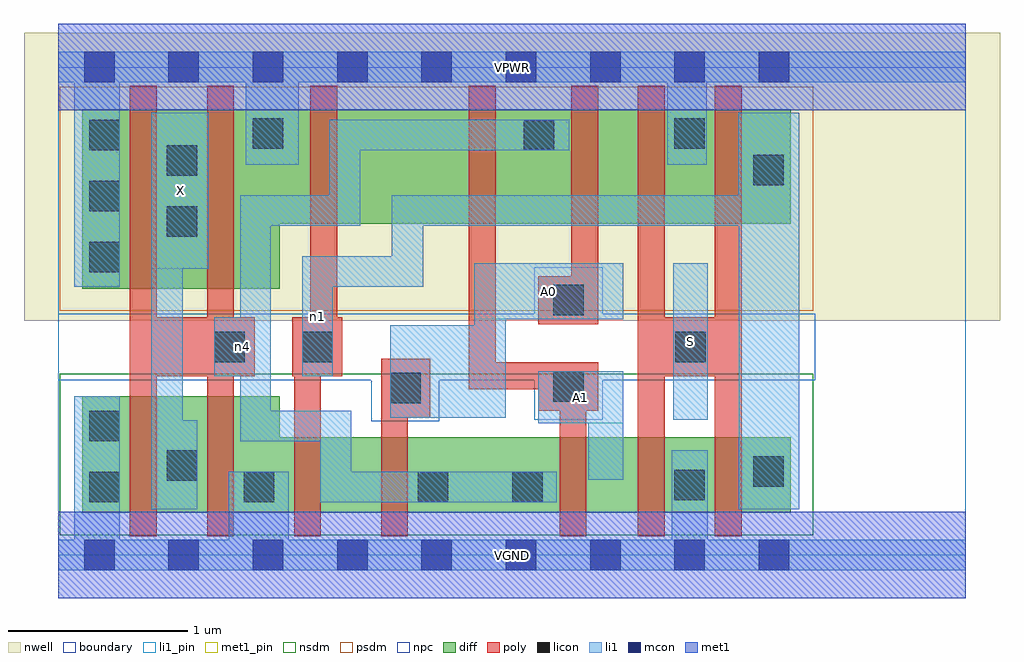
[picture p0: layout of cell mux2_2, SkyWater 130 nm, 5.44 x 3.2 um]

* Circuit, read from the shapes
.subckt mux2_2 A0 A1 S VGND VPWR X n1 n4
XM1 X n4 VGND VSUBS sky130_fd_pr__nfet_01v8 w=0.65 l=0.15 m=2
XM2 n2 n1 VGND VSUBS sky130_fd_pr__nfet_01v8 w=0.42 l=0.15
XM3 n4 A0 n2 VSUBS sky130_fd_pr__nfet_01v8 w=0.42 l=0.15
XM4 n3 A1 n4 VSUBS sky130_fd_pr__nfet_01v8 w=0.42 l=0.15
XM5 VGND S n3 VSUBS sky130_fd_pr__nfet_01v8 w=0.42 l=0.15
XM6 n1 S VGND VSUBS sky130_fd_pr__nfet_01v8 w=0.42 l=0.15
XM7 X n4 VPWR n5 sky130_fd_pr__pfet_01v8 w=1 l=0.15 m=2
XM8 n6 n1 VPWR n5 sky130_fd_pr__pfet_01v8 w=0.64 l=0.15
XM9 n4 A1 n6 n5 sky130_fd_pr__pfet_01v8 w=0.64 l=0.15
XM10 n7 A0 n4 n5 sky130_fd_pr__pfet_01v8 w=0.64 l=0.15
XM11 VPWR S n7 n5 sky130_fd_pr__pfet_01v8 w=0.64 l=0.15
XM12 n1 S VPWR n5 sky130_fd_pr__pfet_01v8 w=0.64 l=0.15
.ends

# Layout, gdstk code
import gdstk
lib = gdstk.Library(unit=1e-6, precision=1e-09)
def R(c, l, rs):  # rectangles x0, y0, x1, y1
    for r in rs: c.add(gdstk.rectangle(r[:2], r[2:], *l))
def A(c, l, x, y, w, h, nx, ny, dx, dy):  # array of equal rectangles
    R(c, l, [(x+i*dx, y+j*dy, x+i*dx+w, y+j*dy+h) for i in range(nx) for j in range(ny)])
nwell = (64, 20)
diff = (65, 20)
poly = (66, 20)
licon = (66, 44)
li1_pin = (67, 16)
li1 = (67, 20)
mcon = (67, 44)
met1_pin = (68, 16)
met1 = (68, 20)
nsdm = (93, 44)
psdm = (94, 20)
npc = (95, 20)
boundary = (235, 4)

mux2_2 = lib.new_cell('mux2_2')
R(mux2_2, nwell, [(-0.19,1.305,5.25,2.91), (0,1.305,5.06,2.91)])
R(mux2_2, diff, [(0.135,0.235,4.085,0.655), (0.135,0.235,1.235,0.885), (0.135,1.485,1.235,2.485), (0.135,1.845,4.085,2.485)])
R(mux2_2, poly, [(0.4,0.105,0.55,2.615), (0.83,0.105,0.98,2.615), (1.315,0.105,1.465,1.325), (1.8,0.105,1.95,1.095), (2.795,0.105,2.945,1.075), (3.23,0.105,3.38,2.615), (3.66,0.105,3.81,2.615), (1.8,0.765,2.075,1.095), (2.675,0.805,3.01,1.075), (2.29,0.925,2.44,2.615), (2.29,0.925,3.01,1.075), (0.4,0.995,1.095,1.325), (1.305,0.995,1.585,1.325), (1.405,0.995,1.555,2.615), (3.23,0.995,3.81,1.325), (2.675,1.285,3.01,1.555), (2.86,1.285,3.01,2.615)])
A(mux2_2, licon, 0.175, 1.575, 0.17, 0.17, 1, 3, 0, 0.34)
R(mux2_2, licon, [(0.175,0.295,0.345,0.465), (1.035,0.295,1.205,0.465), (2.005,0.295,2.175,0.465), (2.53,0.295,2.7,0.465), (3.435,0.305,3.605,0.475), (3.875,0.38,4.045,0.55), (0.605,0.415,0.775,0.585), (0.175,0.635,0.345,0.805), (1.85,0.845,2.02,1.015), (2.76,0.855,2.93,1.025), (0.87,1.075,1.04,1.245), (1.36,1.075,1.53,1.245), (3.44,1.075,3.61,1.245), (2.76,1.335,2.93,1.505), (0.605,1.775,0.775,1.945), (3.875,2.06,4.045,2.23), (0.605,2.115,0.775,2.285), (2.595,2.255,2.765,2.425), (1.085,2.265,1.255,2.435), (3.435,2.265,3.605,2.435)])
R(mux2_2, li1_pin, [(2.675,0.735,3.15,1.025), (3.43,0.755,3.62,1.625), (2.32,1.315,3.15,1.625), (0.52,1.595,0.84,2.465)])
R(mux2_2, li1, [(0,-0.085,5.06,0.085), (0.09,-0.085,0.345,0.885), (0.95,-0.085,1.285,0.465), (3.42,-0.085,3.62,0.585), (0.52,0.255,0.695,2.465), (0.52,0.255,0.775,0.75), (3.795,0.255,4.13,2.465), (1.46,0.295,2.78,0.465), (1.46,0.295,1.635,0.805), (2.955,0.42,3.15,1.025), (1.015,0.635,1.185,2.005), (1.015,0.635,1.635,0.805), (2.675,0.735,3.15,1.025), (3.43,0.755,3.62,1.625), (1.85,0.765,2.495,1.28), (2.32,0.765,2.495,1.625), (0.87,0.995,1.185,1.325), (1.36,0.995,1.53,1.665), (2.32,1.315,3.15,1.625), (0.09,1.495,0.345,2.805), (1.36,1.495,2.035,1.665), (1.86,1.495,2.035,2.005), (0.52,1.595,0.84,2.465), (1.015,1.835,1.685,2.005), (1.51,1.835,1.685,2.425), (1.86,1.835,4.13,2.005), (3.79,1.835,4.13,2.465), (1.045,2.175,1.34,2.805), (3.395,2.175,3.615,2.805), (1.51,2.255,2.85,2.425), (0,2.635,5.06,2.805)])
A(mux2_2, mcon, 0.145, -0.085, 0.17, 0.17, 9, 2, 0.47, 2.72)
R(mux2_2, met1_pin, [(0,-0.24,5.06,0.24), (0,2.48,5.06,2.96)])
R(mux2_2, met1, [(0,-0.24,5.06,0.24), (0,2.48,5.06,2.96)])
R(mux2_2, nsdm, [(0.01,0.11,4.21,1.01)])
R(mux2_2, psdm, [(0.01,1.36,4.21,2.61)])
R(mux2_2, npc, [(1.745,0.745,2.125,1.345), (2.655,0.755,3.035,1.605), (0,0.975,4.22,1.345)])
R(mux2_2, boundary, [(0,0,5.06,2.72)])
mux2_2.add(gdstk.Label('A0', (2.735,1.47), layer=67, texttype=5))
mux2_2.add(gdstk.Label('A1', (2.912,0.88), layer=67, texttype=5))
mux2_2.add(gdstk.Label('S', (3.525,1.19), layer=67, texttype=5))
mux2_2.add(gdstk.Label('X', (0.68,2.03), layer=67, texttype=5))
mux2_2.add(gdstk.Label('n4', (1.027,1.16), layer=67, texttype=5))
mux2_2.add(gdstk.Label('n1', (1.445,1.33), layer=67, texttype=5))
mux2_2.add(gdstk.Label('VPWR', (2.53,2.72), layer=68, texttype=5))
mux2_2.add(gdstk.Label('VGND', (2.53,0), layer=68, texttype=5))
mux2_2.add(gdstk.Label('A0', (2.735,1.47), layer=67, texttype=16))
mux2_2.add(gdstk.Label('A1', (2.912,0.88), layer=67, texttype=16))
mux2_2.add(gdstk.Label('S', (3.525,1.19), layer=67, texttype=16))
mux2_2.add(gdstk.Label('X', (0.68,2.03), layer=67, texttype=16))
mux2_2.add(gdstk.Label('VPWR', (2.53,2.72), layer=68, texttype=16))
mux2_2.add(gdstk.Label('VGND', (2.53,0), layer=68, texttype=16))

lib.write_gds('mux2_2.gds')
